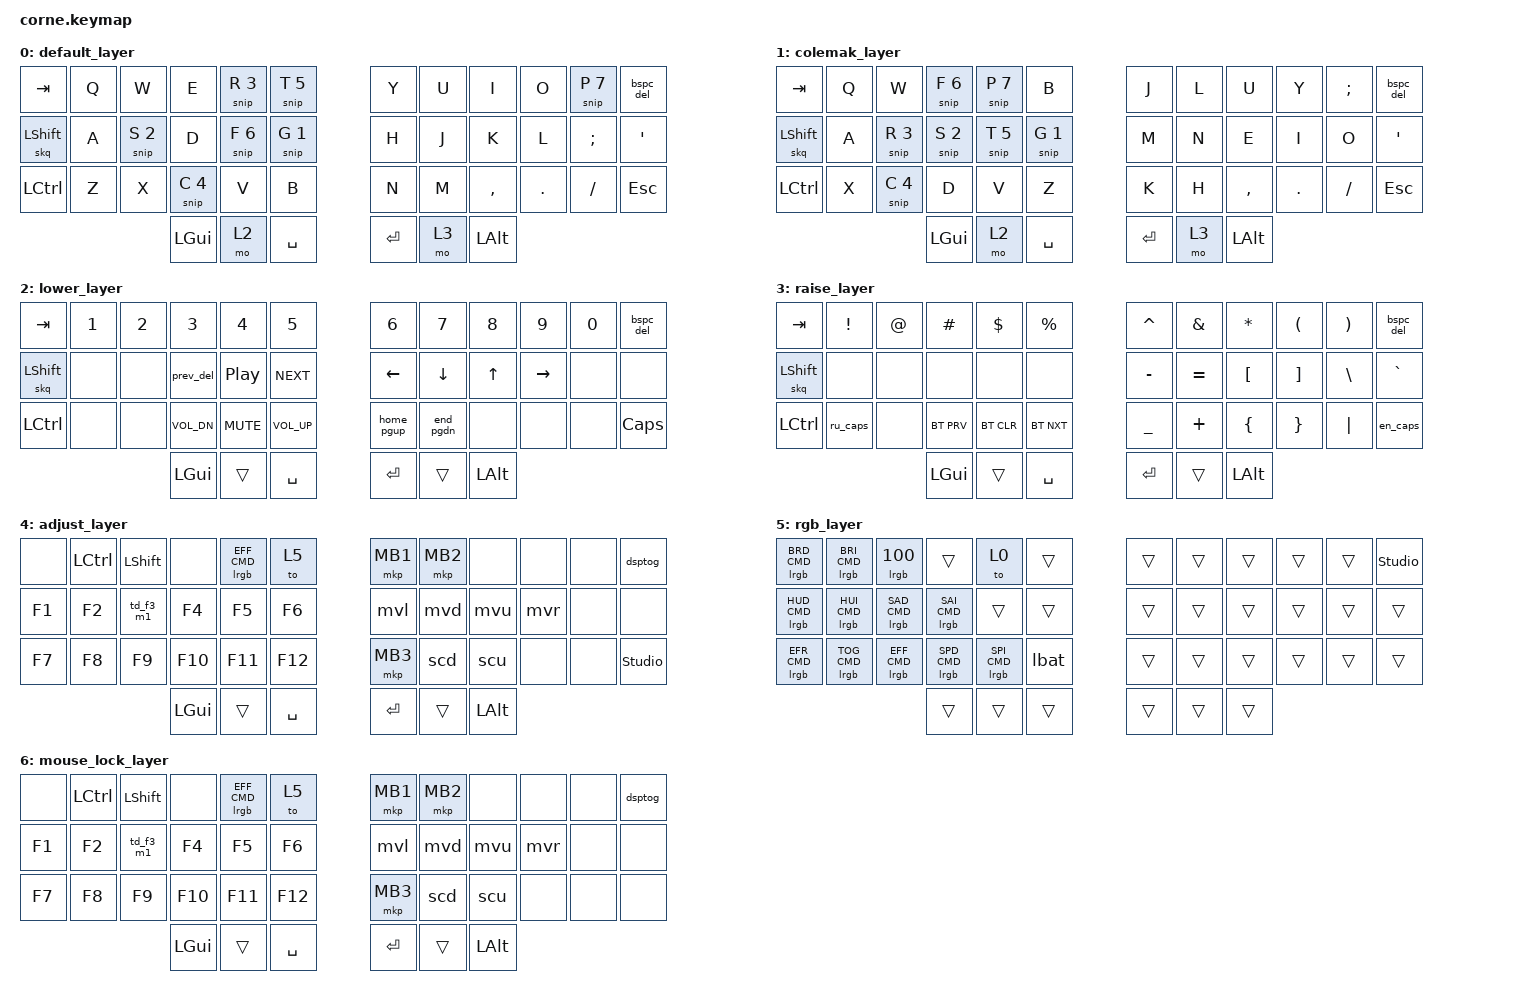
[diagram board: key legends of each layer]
/*
 * Copyright (c) 2020 The ZMK Contributors
 * SPDX-License-Identifier: MIT
 */
// Mouse speed: must be defined BEFORE mouse.h which includes pointing.h

#define ZMK_POINTING_DEFAULT_MOVE_VAL 1200
#define ZMK_POINTING_DEFAULT_SCRL_VAL 10

#include <dt-bindings/zmk/mouse.h>
#include <behaviors.dtsi>
#include <dt-bindings/zmk/bt.h>
#include <dt-bindings/zmk/keys.h>
#include <dt-bindings/zmk/pointing.h>
#include <dt-bindings/zmk/rgb.h>
#include <dt-bindings/zmk/ext_power.h>
#include <behaviors/display_toggle.dtsi>
#include <behaviors/led_flash.dtsi>
#include <behaviors/led_rgb.dtsi>
#include <behaviors/tap_signal.dtsi>
#include <behaviors/ug_solid.dtsi>
#include <behaviors/led_sync.dtsi>
#include <behaviors/ru_caps.dtsi>
#include <behaviors/snippet.dtsi>

// Скорости мыши на слое Adjust (Shift = быстро, Ctrl = медленно)
#define MOUSE_FAST 3000
#define MOUSE_SLOW 360
#define SCROLL_FAST 25
#define SCROLL_SLOW 3

/ {
    // Ебашим макрос, который был зашит в QMK: F3 + D

    macros {
        macro_m1: macro_m1 {
            compatible = "zmk,behavior-macro";
            #binding-cells = <0>;
            bindings =
                <&macro_press>,
                <&kp F3>,
                <&macro_tap>,
                <&kp D>,
                <&macro_release>,
                <&kp F3>;
        };

        // Переключение раскладки + короткая вспышка: красная при входе в Colemak, зелёная при выходе
        col_on: colemak_on {
            compatible = "zmk,behavior-macro";
            #binding-cells = <0>;
            bindings = <&to 1>, <&lflash 0>;
        };

        col_off: colemak_off {
            compatible = "zmk,behavior-macro";
            #binding-cells = <0>;
            bindings = <&to 0>, <&lflash 1>;
        };
    };

    behaviors {
        // Tap Dance на клавише F3 слоя Adjust (Один тап - F3, два тапа - макрос M1)

        td_f3_m1: tap_dance_f3_m1 {
            compatible = "zmk,behavior-tap-dance";
            #binding-cells = <0>;
            tapping-term-ms = <180>;
            bindings = <&kp F3>, <&macro_m1>;
        };

        // Backspace: одиночный Shift или Ctrl даёт обычный Backspace; Shift+Ctrl+Backspace включает режим
        // сниппетов (вложенный mod-morph: Shift -> проверяем Ctrl).

        bspc_del_ctl: backspace_delete_ctrl {
            compatible = "zmk,behavior-mod-morph";
            #binding-cells = <0>;
            // Shift+Ctrl+Backspace = "режим сниппетов": пока зажато, g/s/r/c/t/f/p печатают слова (&snip)
            bindings = <&kp BSPC>, <&snip 0 0>;

            mods = <(MOD_LCTL|MOD_RCTL)>;
        };


        // Липкий Shift: тап = следующая буква заглавная; удержание работает как обычный Shift.
        // quick-release: на быстрой печати не получается две заглавные подряд.
        skq: sticky_shift_quick {
            compatible = "zmk,behavior-sticky-key";
            #binding-cells = <1>;
            bindings = <&kp>;
            release-after-ms = <1000>;
            quick-release;
        };

        // Мышь на слое Adjust: Shift = быстрее, Ctrl = медленнее (Ctrl сильнее). Модификатор в компьютер не уходит.
        // Скорости: обычная = ZMK_POINTING_DEFAULT_*; быстро ×2.5; медленно ×0.3

        mvl: mvl_speed {
            compatible = "zmk,behavior-mod-morph";
            #binding-cells = <0>;
            bindings = <&mvl_s>, <&mmv MOVE_X(-MOUSE_SLOW)>;
            mods = <(MOD_LCTL|MOD_RCTL)>;
        };

        mvl_s: mvl_shift {
            compatible = "zmk,behavior-mod-morph";
            #binding-cells = <0>;
            bindings = <&mmv MOVE_LEFT>, <&mmv MOVE_X(-MOUSE_FAST)>;
            mods = <(MOD_LSFT|MOD_RSFT)>;
        };

        mvr: mvr_speed {
            compatible = "zmk,behavior-mod-morph";
            #binding-cells = <0>;
            bindings = <&mvr_s>, <&mmv MOVE_X(MOUSE_SLOW)>;
            mods = <(MOD_LCTL|MOD_RCTL)>;
        };

        mvr_s: mvr_shift {
            compatible = "zmk,behavior-mod-morph";
            #binding-cells = <0>;
            bindings = <&mmv MOVE_RIGHT>, <&mmv MOVE_X(MOUSE_FAST)>;
            mods = <(MOD_LSFT|MOD_RSFT)>;
        };

        mvu: mvu_speed {
            compatible = "zmk,behavior-mod-morph";
            #binding-cells = <0>;
            bindings = <&mvu_s>, <&mmv MOVE_Y(-MOUSE_SLOW)>;
            mods = <(MOD_LCTL|MOD_RCTL)>;
        };

        mvu_s: mvu_shift {
            compatible = "zmk,behavior-mod-morph";
            #binding-cells = <0>;
            bindings = <&mmv MOVE_UP>, <&mmv MOVE_Y(-MOUSE_FAST)>;
            mods = <(MOD_LSFT|MOD_RSFT)>;
        };

        mvd: mvd_speed {
            compatible = "zmk,behavior-mod-morph";
            #binding-cells = <0>;
            bindings = <&mvd_s>, <&mmv MOVE_Y(MOUSE_SLOW)>;
            mods = <(MOD_LCTL|MOD_RCTL)>;
        };

        mvd_s: mvd_shift {
            compatible = "zmk,behavior-mod-morph";
            #binding-cells = <0>;
            bindings = <&mmv MOVE_DOWN>, <&mmv MOVE_Y(MOUSE_FAST)>;
            mods = <(MOD_LSFT|MOD_RSFT)>;
        };

        scu: scu_speed {
            compatible = "zmk,behavior-mod-morph";
            #binding-cells = <0>;
            bindings = <&scu_s>, <&msc MOVE_Y(SCROLL_SLOW)>;
            mods = <(MOD_LCTL|MOD_RCTL)>;
        };

        scu_s: scu_shift {
            compatible = "zmk,behavior-mod-morph";
            #binding-cells = <0>;
            bindings = <&msc SCRL_UP>, <&msc MOVE_Y(SCROLL_FAST)>;
            mods = <(MOD_LSFT|MOD_RSFT)>;
        };

        scd: scd_speed {
            compatible = "zmk,behavior-mod-morph";
            #binding-cells = <0>;
            bindings = <&scd_s>, <&msc MOVE_Y(-SCROLL_SLOW)>;
            mods = <(MOD_LCTL|MOD_RCTL)>;
        };

        scd_s: scd_shift {
            compatible = "zmk,behavior-mod-morph";
            #binding-cells = <0>;
            bindings = <&msc SCRL_DOWN>, <&msc MOVE_Y(-SCROLL_FAST)>;
            mods = <(MOD_LSFT|MOD_RSFT)>;
        };

        // Слой Lower: Home/End, а с зажатым Alt (правый большой палец) PgUp/PgDn; предыдущий трек, а с Ctrl Delete.
        // Модификатор морфа в компьютер не уходит (mod-morph его маскирует). Ctrl остаётся свободным: Ctrl+Home/End работают.

        home_pgup: home_or_pgup {
            compatible = "zmk,behavior-mod-morph";
            #binding-cells = <0>;
            bindings = <&kp HOME>, <&kp PG_UP>;

            mods = <(MOD_LALT|MOD_RALT)>;
        };

        end_pgdn: end_or_pgdn {
            compatible = "zmk,behavior-mod-morph";
            #binding-cells = <0>;
            bindings = <&kp END>, <&kp PG_DN>;

            mods = <(MOD_LALT|MOD_RALT)>;
        };

        prev_del: prev_track_or_delete {
            compatible = "zmk,behavior-mod-morph";
            #binding-cells = <0>;
            bindings = <&kp C_PREV>, <&kp DEL>;

            mods = <(MOD_LCTL|MOD_RCTL)>;
        };

        bspc_del: backspace_delete {
            compatible = "zmk,behavior-mod-morph";
            #binding-cells = <0>;
            bindings = <&kp BSPC>, <&bspc_del_ctl>;

            mods = <(MOD_LSFT|MOD_RSFT)>;
        };
    };

    // Охуенная замена FN_MO13 и FN_MO23 из QMK: если зажаты оба пальца (слой 2 и 3), прыгаем на 4 (Adjust)

    conditional_layers {
        compatible = "zmk,conditional-layers";

        tri_layer {
            if-layers = <2 3>;
            then-layer = <4>;
        };
    };

    combos {
        compatible = "zmk,combos";

        // Переключение QWERTY <-> Colemak-DH: TAB + LCTRL + BACKSPACE + ESC (четыре угла) одновременно.
        // Позиции: 0 = TAB, 11 = BACKSPACE, 24 = LCTRL, 35 = ESC.
        // require-prior-idle-ms: если вы только что печатали (менее 150 мс назад), эти клавиши не ждут
        // комбо и срабатывают сразу. Задержка 50 мс только у первой клавиши после паузы.

        combo_colemak_on {
            timeout-ms = <50>;
            require-prior-idle-ms = <150>;
            key-positions = <0 11 24 35>;
            bindings = <&col_on>;
            layers = <0>;
        };

        combo_colemak_off {
            timeout-ms = <50>;
            require-prior-idle-ms = <150>;
            key-positions = <0 11 24 35>;
            bindings = <&col_off>;
            layers = <1>;
        };
    };

    keymap {
        compatible = "zmk,keymap";

        // Layer 0: QWERTY (default base)
        default_layer {
            bindings = <
&kp TAB      &kp Q        &kp W        &kp E        &snip R 3    &snip T 5      &kp Y        &kp U        &kp I        &kp O        &snip P 7    &bspc_del
&skq LSHIFT  &kp A        &snip S 2    &kp D        &snip F 6    &snip G 1      &kp H        &kp J        &kp K        &kp L        &kp SEMI     &kp SQT
&kp LCTRL    &kp Z        &kp X        &snip C 4    &kp V        &kp B          &kp N        &kp M        &kp COMMA    &kp DOT      &kp FSLH     &kp ESC
                                       &kp LGUI     &mo 2        &kp SPACE      &kp RET      &mo 3        &kp LALT
            >;
        };

        // Layer 1: Colemak-DH (alternate base)
        // Вход и выход: TAB + LCTRL + BACKSPACE + ESC (combo_colemak_on / combo_colemak_off)
        // MO2/MO3/conditional_layers работают поверх как на базовом слое
        colemak_layer {
            bindings = <
&kp TAB      &kp Q        &kp W        &snip F 6    &snip P 7    &kp B          &kp J        &kp L        &kp U        &kp Y        &kp SEMI     &bspc_del
&skq LSHIFT  &kp A        &snip R 3    &snip S 2    &snip T 5    &snip G 1      &kp M        &kp N        &kp E        &kp I        &kp O        &kp SQT
&kp LCTRL    &kp X        &snip C 4    &kp D        &kp V        &kp Z          &kp K        &kp H        &kp COMMA    &kp DOT      &kp FSLH     &kp ESC
                                       &kp LGUI     &mo 2        &kp SPACE      &kp RET      &mo 3        &kp LALT
            >;
        };

        // Layer 2: Lower (numbers, media, arrows)
        lower_layer {
            bindings = <
&kp TAB       &kp N1        &kp N2        &kp N3        &kp N4        &kp N5          &kp N6        &kp N7        &kp N8        &kp N9        &kp N0        &bspc_del
&skq LSHIFT   &none         &none         &prev_del     &kp C_PP      &kp C_NEXT      &kp LEFT      &kp DOWN      &kp UP        &kp RIGHT     &none         &none
&kp LCTRL     &none         &none         &kp C_VOL_DN  &kp C_MUTE    &kp C_VOL_UP    &home_pgup    &end_pgdn     &none         &none         &none         &kp CAPS
                                          &kp LGUI      &trans        &kp SPACE       &kp RET       &trans        &kp LALT
            >;
        };

        // Layer 3: Raise (symbols, BT)
        raise_layer {
            bindings = <
&kp TAB      &kp EXCL     &kp AT       &kp HASH     &kp DLLR     &kp PRCNT      &kp CARET    &kp AMPS     &kp STAR     &kp LPAR     &kp RPAR     &bspc_del
&skq LSHIFT  &none        &none        &none        &none        &none          &kp MINUS    &kp EQUAL    &kp LBKT     &kp RBKT     &kp BSLH     &kp GRAVE
&kp LCTRL    &ru_caps     &none        &bt BT_PRV   &bt BT_CLR   &bt BT_NXT     &kp UNDER    &kp PLUS     &kp LBRC     &kp RBRC     &kp PIPE     &en_caps
                                       &kp LGUI     &trans       &kp SPACE      &kp RET      &trans       &kp LALT
            >;
        };

        // Layer 4: Adjust (mouse, F-keys, studio) — activates when Lower+Raise held
        adjust_layer {
            bindings = <
&none              &kp LCTRL          &kp LSHFT          &none              &lrgb RGB_EFF_CMD  &to 5                &mkp MB1           &mkp MB2           &none              &none              &none              &dsptog
&kp F1             &kp F2             &td_f3_m1          &kp F4             &kp F5             &kp F6               &mvl               &mvd               &mvu               &mvr               &none              &none
&kp F7             &kp F8             &kp F9             &kp F10            &kp F11            &kp F12              &mkp MB3           &scd               &scu               &none              &none              &studio_unlock
                                                         &kp LGUI           &trans             &kp SPACE            &kp RET            &trans             &kp LALT
            >;
        };

        // Layer 5: RGB controls (кнопки с повтором при удержании: &lrgb)
        rgb_layer {
            bindings = <
&lrgb RGB_BRD_CMD  &lrgb RGB_BRI_CMD  &lrgb 100         &trans           &to 0            &trans    &trans  &trans  &trans  &trans  &trans  &studio_unlock
&lrgb RGB_HUD_CMD  &lrgb RGB_HUI_CMD  &lrgb RGB_SAD_CMD &lrgb RGB_SAI_CMD &trans           &trans    &trans  &trans  &trans  &trans  &trans  &trans
&lrgb RGB_EFR_CMD  &lrgb RGB_TOG_CMD  &lrgb RGB_EFF_CMD &lrgb RGB_SPD_CMD &lrgb RGB_SPI_CMD &lbat     &trans  &trans  &trans  &trans  &trans  &trans
                                                   &trans           &trans           &trans    &trans  &trans  &trans
            >;
        };

        // Layer 6: копия Adjust (слой мыши), включается двойным тапом MO2+MO3 и остаётся до следующего MO
        mouse_lock_layer {
            bindings = <
&none              &kp LCTRL          &kp LSHFT          &none              &lrgb RGB_EFF_CMD  &to 5                &mkp MB1           &mkp MB2           &none              &none              &none              &dsptog
&kp F1             &kp F2             &td_f3_m1          &kp F4             &kp F5             &kp F6               &mvl               &mvd               &mvu               &mvr               &none              &none
&kp F7             &kp F8             &kp F9             &kp F10            &kp F11            &kp F12              &mkp MB3           &scd               &scu               &none              &none              &none
                                                         &kp LGUI           &trans             &kp SPACE            &kp RET            &trans             &kp LALT
            >;
        };
    };
};

/* Per-key RGB layer colors (режим LAY).
 * Базовые слои 0/1 и слой RGB (5) показывают цвет SOLID (&ugs): тот, что настраивается кнопками RGB.
 * Lower = зелёный, Raise = ржаво-оранжевый, Adjust (мышь) = белый. Яркость общая (кнопки BRI/BRD). */

&rgb_layer {
    layer_0 {
        layer-id = <0>;
        bindings = <
            // QWERTY: цвет SOLID
            &ugs &ugs &ugs &ugs &ugs &ugs
            &ugs &ugs &ugs &ugs &ugs &ugs
            &ugs &ugs &ugs &ugs &ugs &ugs
            &ugs &ugs &ugs &ugs &ugs &ugs
            &ugs &ugs &ugs &ugs &ugs &ugs
            &ugs &ugs &ugs &ugs &ugs &ugs
            &ugs &ugs &ugs
            &ugs &ugs &ugs
        >;
    };

    layer_1 {
        layer-id = <1>;
        bindings = <
            // Colemak: цвет SOLID
            &ugs &ugs &ugs &ugs &ugs &ugs
            &ugs &ugs &ugs &ugs &ugs &ugs
            &ugs &ugs &ugs &ugs &ugs &ugs
            &ugs &ugs &ugs &ugs &ugs &ugs
            &ugs &ugs &ugs &ugs &ugs &ugs
            &ugs &ugs &ugs &ugs &ugs &ugs
            &ugs &ugs &ugs
            &ugs &ugs &ugs
        >;
    };

    layer_2 {
        layer-id = <2>;
        bindings = <
            // Lower (цифры): зелёный
            &ugc 0x00FF00 &ugc 0x00FF00 &ugc 0x00FF00 &ugc 0x00FF00 &ugc 0x00FF00 &ugc 0x00FF00
            &ugc 0x00FF00 &ugc 0x00FF00 &ugc 0x00FF00 &ugc 0x00FF00 &ugc 0x00FF00 &ugc 0x00FF00
            &ugc 0x00FF00 &ugc 0x00FF00 &ugc 0x00FF00 &ugc 0x00FF00 &ugc 0x00FF00 &ugc 0x00FF00
            &ugc 0x00FF00 &ugc 0x00FF00 &ugc 0x00FF00 &ugc 0x00FF00 &ugc 0x00FF00 &ugc 0x00FF00
            &ugc 0x00FF00 &ugc 0x00FF00 &ugc 0x00FF00 &ugc 0x00FF00 &ugc 0x00FF00 &ugc 0x00FF00
            &ugc 0x00FF00 &ugc 0x00FF00 &ugc 0x00FF00 &ugc 0x00FF00 &ugc 0x00FF00 &ugc 0x00FF00
            &ugc 0x00FF00 &ugc 0x00FF00 &ugc 0x00FF00
            &ugc 0x00FF00 &ugc 0x00FF00 &ugc 0x00FF00
        >;
    };

    layer_3 {
        layer-id = <3>;
        bindings = <
            // Raise (символы): ржаво-оранжевый
            &ugc 0xFF3A00 &ugc 0xFF3A00 &ugc 0xFF3A00 &ugc 0xFF3A00 &ugc 0xFF3A00 &ugc 0xFF3A00
            &ugc 0xFF3A00 &ugc 0xFF3A00 &ugc 0xFF3A00 &ugc 0xFF3A00 &ugc 0xFF3A00 &ugc 0xFF3A00
            &ugc 0xFF3A00 &ugc 0xFF3A00 &ugc 0xFF3A00 &ugc 0xFF3A00 &ugc 0xFF3A00 &ugc 0xFF3A00
            &ugc 0xFF3A00 &ugc 0xFF3A00 &ugc 0xFF3A00 &ugc 0xFF3A00 &ugc 0xFF3A00 &ugc 0xFF3A00
            &ugc 0xFF3A00 &ugc 0xFF3A00 &ugc 0xFF3A00 &ugc 0xFF3A00 &ugc 0xFF3A00 &ugc 0xFF3A00
            &ugc 0xFF3A00 &ugc 0xFF3A00 &ugc 0xFF3A00 &ugc 0xFF3A00 &ugc 0xFF3A00 &ugc 0xFF3A00
            &ugc 0xFF3A00 &ugc 0xFF3A00 &ugc 0xFF3A00
            &ugc 0xFF3A00 &ugc 0xFF3A00 &ugc 0xFF3A00
        >;
    };

    layer_4 {
        layer-id = <4>;
        bindings = <
            // Adjust (мышь): белый
            &ugc 0xFFFFFF &ugc 0xFFFFFF &ugc 0xFFFFFF &ugc 0xFFFFFF &ugc 0xFFFFFF &ugc 0xFFFFFF
            &ugc 0xFFFFFF &ugc 0xFFFFFF &ugc 0xFFFFFF &ugc 0xFFFFFF &ugc 0xFFFFFF &ugc 0xFFFFFF
            &ugc 0xFFFFFF &ugc 0xFFFFFF &ugc 0xFFFFFF &ugc 0xFFFFFF &ugc 0xFFFFFF &ugc 0xFFFFFF
            &ugc 0xFFFFFF &ugc 0xFFFFFF &ugc 0xFFFFFF &ugc 0xFFFFFF &ugc 0xFFFFFF &ugc 0xFFFFFF
            &ugc 0xFFFFFF &ugc 0xFFFFFF &ugc 0xFFFFFF &ugc 0xFFFFFF &ugc 0xFFFFFF &ugc 0xFFFFFF
            &ugc 0xFFFFFF &ugc 0xFFFFFF &ugc 0xFFFFFF &ugc 0xFFFFFF &ugc 0xFFFFFF &ugc 0xFFFFFF
            &ugc 0xFFFFFF &ugc 0xFFFFFF &ugc 0xFFFFFF
            &ugc 0xFFFFFF &ugc 0xFFFFFF &ugc 0xFFFFFF
        >;
    };

    layer_5 {
        layer-id = <5>;
        bindings = <
            // RGB: цвет SOLID, чтобы видеть результат настройки
            &ugs &ugs &ugs &ugs &ugs &ugs
            &ugs &ugs &ugs &ugs &ugs &ugs
            &ugs &ugs &ugs &ugs &ugs &ugs
            &ugs &ugs &ugs &ugs &ugs &ugs
            &ugs &ugs &ugs &ugs &ugs &ugs
            &ugs &ugs &ugs &ugs &ugs &ugs
            &ugs &ugs &ugs
            &ugs &ugs &ugs
        >;
    };

    layer_6 {
        layer-id = <6>;
        bindings = <
            // Mouse lock (копия Adjust): белый
            &ugc 0xFFFFFF &ugc 0xFFFFFF &ugc 0xFFFFFF &ugc 0xFFFFFF &ugc 0xFFFFFF &ugc 0xFFFFFF
            &ugc 0xFFFFFF &ugc 0xFFFFFF &ugc 0xFFFFFF &ugc 0xFFFFFF &ugc 0xFFFFFF &ugc 0xFFFFFF
            &ugc 0xFFFFFF &ugc 0xFFFFFF &ugc 0xFFFFFF &ugc 0xFFFFFF &ugc 0xFFFFFF &ugc 0xFFFFFF
            &ugc 0xFFFFFF &ugc 0xFFFFFF &ugc 0xFFFFFF &ugc 0xFFFFFF &ugc 0xFFFFFF &ugc 0xFFFFFF
            &ugc 0xFFFFFF &ugc 0xFFFFFF &ugc 0xFFFFFF &ugc 0xFFFFFF &ugc 0xFFFFFF &ugc 0xFFFFFF
            &ugc 0xFFFFFF &ugc 0xFFFFFF &ugc 0xFFFFFF &ugc 0xFFFFFF &ugc 0xFFFFFF &ugc 0xFFFFFF
            &ugc 0xFFFFFF &ugc 0xFFFFFF &ugc 0xFFFFFF
            &ugc 0xFFFFFF &ugc 0xFFFFFF &ugc 0xFFFFFF
        >;
    };
};
